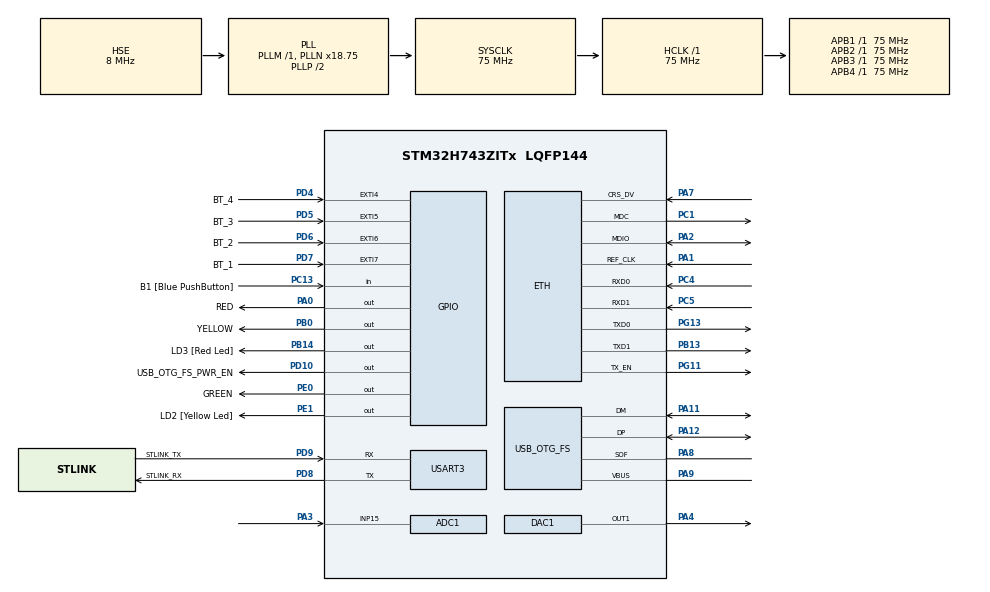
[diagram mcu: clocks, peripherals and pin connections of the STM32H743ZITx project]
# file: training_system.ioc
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ADC1.Channel-0\#ChannelRegularConversion=ADC_CHANNEL_15
ADC1.ConversionDataManagement=ADC_CONVERSIONDATA_DMA_ONESHOT
ADC1.ExternalTrigConv=ADC_EXTERNALTRIG_T1_TRGO
ADC1.NbrOfConversionFlag=1
ADC1.OffsetNumber-0\#ChannelRegularConversion=ADC_OFFSET_NONE
ADC1.OffsetSignedSaturation-0\#ChannelRegularConversion=DISABLE
ADC1.Rank-0\#ChannelRegularConversion=1
ADC1.Resolution=ADC_RESOLUTION_12B
ADC1.SamplingTime-0\#ChannelRegularConversion=ADC_SAMPLETIME_1CYCLE_5
ADC1.master=1
DAC1.DAC_Channel-DAC_OUT1=DAC_CHANNEL_1
DAC1.DAC_Trigger-DAC_OUT1=DAC_TRIGGER_T1_TRGO
Dma.ADC1.0.Direction=DMA_PERIPH_TO_MEMORY
Dma.ADC1.0.EventEnable=DISABLE
Dma.ADC1.0.FIFOMode=DMA_FIFOMODE_DISABLE
Dma.ADC1.0.Instance=DMA1_Stream0
Dma.ADC1.0.MemDataAlignment=DMA_MDATAALIGN_HALFWORD
Dma.ADC1.0.MemInc=DMA_MINC_ENABLE
Dma.ADC1.0.Mode=DMA_NORMAL
Dma.ADC1.0.PeriphDataAlignment=DMA_PDATAALIGN_HALFWORD
Dma.ADC1.0.PeriphInc=DMA_PINC_DISABLE
Dma.ADC1.0.Polarity=HAL_DMAMUX_REQ_GEN_RISING
Dma.ADC1.0.Priority=DMA_PRIORITY_LOW
Dma.ADC1.0.RequestNumber=1
Dma.ADC1.0.SignalID=NONE
Dma.ADC1.0.SyncEnable=DISABLE
Dma.ADC1.0.SyncPolarity=HAL_DMAMUX_SYNC_NO_EVENT
Dma.ADC1.0.SyncRequestNumber=1
Dma.ADC1.0.SyncSignalID=NONE
Dma.DAC1_CH1.1.Direction=DMA_MEMORY_TO_PERIPH
Dma.DAC1_CH1.1.EventEnable=DISABLE
Dma.DAC1_CH1.1.FIFOMode=DMA_FIFOMODE_DISABLE
Dma.DAC1_CH1.1.Instance=DMA1_Stream1
Dma.DAC1_CH1.1.MemDataAlignment=DMA_MDATAALIGN_HALFWORD
Dma.DAC1_CH1.1.MemInc=DMA_MINC_ENABLE
Dma.DAC1_CH1.1.Mode=DMA_NORMAL
Dma.DAC1_CH1.1.PeriphDataAlignment=DMA_PDATAALIGN_HALFWORD
Dma.DAC1_CH1.1.PeriphInc=DMA_PINC_DISABLE
Dma.DAC1_CH1.1.Polarity=HAL_DMAMUX_REQ_GEN_RISING
Dma.DAC1_CH1.1.Priority=DMA_PRIORITY_LOW
Dma.DAC1_CH1.1.RequestNumber=1
Dma.DAC1_CH1.1.SignalID=NONE
Dma.DAC1_CH1.1.SyncEnable=DISABLE
Dma.DAC1_CH1.1.SyncPolarity=HAL_DMAMUX_SYNC_NO_EVENT
Dma.DAC1_CH1.1.SyncRequestNumber=1
Dma.DAC1_CH1.1.SyncSignalID=NONE
Dma.Request0=ADC1
Dma.Request1=DAC1_CH1
ETH.MediaInterface=HAL_ETH_RMII_MODE
Mcu.Family=STM32H7
Mcu.Name=STM32H743ZITx
Mcu.Package=LQFP144
NVIC.DMA1_Stream0_IRQn=true\:0\:0\:false\:false\:true\:false\:true
NVIC.DMA1_Stream1_IRQn=true\:0\:0\:false\:false\:true\:false\:true
NVIC.EXTI4_IRQn=true\:0\:0\:false\:false\:true\:true\:true
NVIC.EXTI9_5_IRQn=true\:0\:0\:false\:false\:true\:true\:true
NVIC.PriorityGroup=NVIC_PRIORITYGROUP_4
PA0.GPIO_Label=RED
PA0.Signal=GPIO_Output
PA1.Mode=RMII
PA1.Signal=ETH_REF_CLK
PA11.Mode=Device_Only
PA11.Signal=USB_OTG_FS_DM
PA12.Mode=Device_Only
PA12.Signal=USB_OTG_FS_DP
PA2.Mode=RMII
PA2.Signal=ETH_MDIO
PA3.Signal=ADCx_INP15
PA4.Signal=COMP_DAC11_group
PA7.Mode=RMII
PA7.Signal=ETH_CRS_DV
PA8.Mode=Activate_SOF_FS
PA8.Signal=USB_OTG_FS_SOF
PA9.Mode=Activate_VBUS
PA9.Signal=USB_OTG_FS_VBUS
PB0.GPIO_Label=YELLOW
PB0.Signal=GPIO_Output
PB13.Mode=RMII
PB13.Signal=ETH_TXD1
PB14.GPIO_Label=LD3 [Red Led]
PB14.Signal=GPIO_Output
PC1.Mode=RMII
PC1.Signal=ETH_MDC
PC13.GPIO_Label=B1 [Blue PushButton]
PC13.Signal=GPIO_Input
PC14-OSC32_IN\ (OSC32_IN).Mode=LSE-External-Oscillator
PC14-OSC32_IN\ (OSC32_IN).Signal=RCC_OSC32_IN
PC15-OSC32_OUT\ (OSC32_OUT).Mode=LSE-External-Oscillator
PC15-OSC32_OUT\ (OSC32_OUT).Signal=RCC_OSC32_OUT
PC4.Mode=RMII
PC4.Signal=ETH_RXD0
PC5.Mode=RMII
PC5.Signal=ETH_RXD1
PD10.GPIO_Label=USB_OTG_FS_PWR_EN
PD10.Signal=GPIO_Output
PD4.GPIO_Label=BT_4
PD4.GPIO_ModeDefaultEXTI=GPIO_MODE_IT_FALLING
PD4.Signal=GPXTI4
PD5.GPIO_Label=BT_3
PD5.GPIO_ModeDefaultEXTI=GPIO_MODE_IT_FALLING
PD5.Signal=GPXTI5
PD6.GPIO_Label=BT_2
PD6.GPIO_ModeDefaultEXTI=GPIO_MODE_IT_FALLING
PD6.Signal=GPXTI6
PD7.GPIO_Label=BT_1
PD7.GPIO_ModeDefaultEXTI=GPIO_MODE_IT_FALLING
PD7.Signal=GPXTI7
PD8.GPIO_Label=STLINK_RX
PD8.Mode=Asynchronous
PD8.Signal=USART3_TX
PD9.GPIO_Label=STLINK_TX
PD9.Mode=Asynchronous
PD9.Signal=USART3_RX
PE0.GPIO_Label=GREEN
PE0.Signal=GPIO_Output
PE1.GPIO_Label=LD2 [Yellow Led]
PE1.Signal=GPIO_Output
PG11.Mode=RMII
PG11.Signal=ETH_TX_EN
PG13.Mode=RMII
PG13.Signal=ETH_TXD0
PH0-OSC_IN\ (PH0).Mode=HSE-External-Clock-Source
PH0-OSC_IN\ (PH0).Signal=RCC_OSC_IN
PH1-OSC_OUT\ (PH1).Signal=RCC_OSC_OUT
ProjectManager.HeapSize=0x200
ProjectManager.StackSize=0x400
ProjectManager.TargetToolchain=STM32CubeIDE
RCC.ADCFreq_Value=37500000
RCC.APB1Freq_Value=75000000
RCC.APB2Freq_Value=75000000
RCC.APB3Freq_Value=75000000
RCC.APB4Freq_Value=75000000
RCC.CortexFreq_Value=75000000
RCC.DIVM1=1
RCC.DIVM2=1
RCC.DIVN1=18
RCC.DIVN2=18
RCC.DIVP2=4
RCC.DIVQ1=3
RCC.HCLKFreq_Value=75000000
RCC.HSE_VALUE=8000000
RCC.PLL2FRACN=6144
RCC.PLLFRACN=6144
RCC.PWR_Regulator_Voltage_Scale=PWR_REGULATOR_VOLTAGE_SCALE2
RCC.SYSCLKFreq_VALUE=75000000
RCC.SYSCLKSource=RCC_SYSCLKSOURCE_PLLCLK
RCC.USART234578CLockSelection=RCC_USART234578CLKSOURCE_HSI
RCC.USBFreq_Value=50000000
SH.ADCx_INP15.0=ADC1_INP15,IN15-Single-Ended
SH.COMP_DAC11_group.0=DAC1_OUT1,DAC_OUT1
TIM1.Period=7500-1
TIM1.TIM_MasterOutputTrigger=TIM_TRGO_UPDATE
USART3.VirtualMode-Asynchronous=VM_ASYNC
USB_OTG_FS.VirtualMode=Device_Only
VP_TIM1_VS_ClockSourceINT.Mode=Internal
board=NUCLEO-H743ZI2

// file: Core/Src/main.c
/* USER CODE BEGIN Header */
/**
  ******************************************************************************
  * @file           : main.c
  * @brief          : Main program body
  ******************************************************************************
  * @attention
  *
  * <h2><center>&copy; Copyright (c) 2021 STMicroelectronics.
  * All rights reserved.</center></h2>
  *
  * This software component is licensed by ST under BSD 3-Clause license,
  * the "License"; You may not use this file except in compliance with the
  * License. You may obtain a copy of the License at:
  *                        opensource.org/licenses/BSD-3-Clause
  *
  ******************************************************************************
  */
/* USER CODE END Header */
#include "main.h"
#include "string.h"

#if defined ( __ICCARM__ ) /*!< IAR Compiler */

#pragma location=0x30040000
ETH_DMADescTypeDef  DMARxDscrTab[ETH_RX_DESC_CNT]; /* Ethernet Rx DMA Descriptors */
#pragma location=0x30040060
ETH_DMADescTypeDef  DMATxDscrTab[ETH_TX_DESC_CNT]; /* Ethernet Tx DMA Descriptors */
#pragma location=0x30040200
uint8_t Rx_Buff[ETH_RX_DESC_CNT][ETH_MAX_PACKET_SIZE]; /* Ethernet Receive Buffers */

#elif defined ( __CC_ARM )  /* MDK ARM Compiler */

__attribute__((at(0x30040000))) ETH_DMADescTypeDef  DMARxDscrTab[ETH_RX_DESC_CNT]; /* Ethernet Rx DMA Descriptors */
__attribute__((at(0x30040060))) ETH_DMADescTypeDef  DMATxDscrTab[ETH_TX_DESC_CNT]; /* Ethernet Tx DMA Descriptors */
__attribute__((at(0x30040200))) uint8_t Rx_Buff[ETH_RX_DESC_CNT][ETH_MAX_PACKET_SIZE]; /* Ethernet Receive Buffer */

#elif defined ( __GNUC__ ) /* GNU Compiler */

ETH_DMADescTypeDef DMARxDscrTab[ETH_RX_DESC_CNT] __attribute__((section(".RxDecripSection"))); /* Ethernet Rx DMA Descriptors */
ETH_DMADescTypeDef DMATxDscrTab[ETH_TX_DESC_CNT] __attribute__((section(".TxDecripSection")));   /* Ethernet Tx DMA Descriptors */
uint8_t Rx_Buff[ETH_RX_DESC_CNT][ETH_MAX_PACKET_SIZE] __attribute__((section(".RxArraySection"))); /* Ethernet Receive Buffers */

#endif

ETH_TxPacketConfig TxConfig;
ADC_HandleTypeDef hadc1;
DMA_HandleTypeDef hdma_adc1;

DAC_HandleTypeDef hdac1;
DMA_HandleTypeDef hdma_dac1_ch1;

ETH_HandleTypeDef heth;

TIM_HandleTypeDef htim1;

UART_HandleTypeDef huart3;

PCD_HandleTypeDef hpcd_USB_OTG_FS;

void SystemClock_Config(void);
static void MX_GPIO_Init(void);
static void MX_ETH_Init(void);
static void MX_USART3_UART_Init(void);
static void MX_DMA_Init(void);
static void MX_ADC1_Init(void);
static void MX_DAC1_Init(void);
static void MX_USB_OTG_FS_PCD_Init(void);
static void MX_TIM1_Init(void);

/* USER CODE BEGIN 0 */
#include <math.h>
#include <arm_math.h>
//#include <fft.h>
#include "const.h"
#include <stdio.h>
#include <chroma.h>
#include "plot.h"
int16_t ADC_buff[ADC_BUF_SIZE];
//float32_t ADC_buff_complex[ADC_BUF_SIZE * 2];
//float32_t ADC_buff_mag[ADC_BUF_SIZE];
uint8_t record_done = 0;
//uint8_t play_done = 0;
uint8_t buttonState = 0;
int counter = 0;
float mag_print;

void preprocess(int16_t in_array[], float out_array[]) {
	float average = 0;
	for(int i = 0; i < ADC_BUF_SIZE; i++) {
		float val = (float) in_array[i];
		out_array[i] = val;
		average += val;
	}
	average /= ADC_BUF_SIZE;
	for(int i = 0; i < ADC_BUF_SIZE; i++) {
		out_array[i] -= average;
	}
}

/* USER CODE END 0 */

int main(void)
{

  /* MCU Configuration--------------------------------------------------------*/

  /* Reset of all peripherals, Initializes the Flash interface and the Systick. */
  HAL_Init();

  /* Configure the system clock */
  SystemClock_Config();

  /* Initialize all configured peripherals */
  MX_GPIO_Init();
  MX_ETH_Init();
  MX_USART3_UART_Init();
  MX_DMA_Init();
  MX_ADC1_Init();
  MX_DAC1_Init();
  MX_USB_OTG_FS_PCD_Init();
  MX_TIM1_Init();
  /* USER CODE BEGIN 2 */
  if (HAL_ADCEx_Calibration_Start(&hadc1, ADC_CALIB_OFFSET, ADC_SINGLE_ENDED) != HAL_OK) {
	  Error_Handler();
  }
  HAL_TIM_Base_Start(&htim1);
  /* USER CODE END 2 */

  /* Infinite loop */
  while (1)
  {

    /* USER CODE BEGIN 3 */
	  //if (buttonState == 1) {
	  HAL_GPIO_WritePin(RED_GPIO_Port, RED_Pin, GPIO_PIN_SET);
	  HAL_Delay(1000);
	  HAL_GPIO_WritePin(RED_GPIO_Port, RED_Pin, GPIO_PIN_RESET);
	  HAL_GPIO_WritePin(GPIOB, YELLOW_Pin, GPIO_PIN_SET);
	  HAL_Delay(1000);
	  HAL_GPIO_WritePin(GPIOB, YELLOW_Pin, GPIO_PIN_RESET);
	  HAL_GPIO_WritePin(GPIOE, GREEN_Pin, GPIO_PIN_SET);
	  if (HAL_ADC_Start_DMA(&hadc1, (uint32_t *) &ADC_buff, ADC_BUF_SIZE) != HAL_OK) {
		  Error_Handler();
	  }
	  while(1) {
		  if(record_done == 1) {
			  record_done = 0;
			  HAL_GPIO_WritePin(GPIOE, GREEN_Pin, GPIO_PIN_RESET);
			  break;
		  }
	  }
	  buttonState = 0;
	  float processed_array[ADC_BUF_SIZE] = {0};
	  preprocess(ADC_buff, processed_array);

	  /*
	  //HAL_Delay(500);
	  preprocess(ADC_buff, ADC_buff_complex, ADC_BUF_SIZE);
	  plot(ADC_buff_complex, ADC_BUF_SIZE, 1);
	  HAL_Delay(100);
	  // Part 2

	  // 1024 FFT Three kHz
	  arm_cfft_instance_f32 fft_handler;
	  arm_cfft_init_f32(&fft_handler, ADC_BUF_SIZE);
	  arm_cfft_f32(&fft_handler, ADC_buff_complex, 0, 1);

	  get_magnitude(ADC_buff_complex, ADC_buff_mag, ADC_BUF_SIZE);
	  plot(ADC_buff_mag, ADC_BUF_SIZE, 0);

	  float32_t delta_f = ((float) 10000)/2048;
	  printf("2048 Point Delta f: %.1f\n", delta_f);

	  int ADC_buff_peaks[2];
	  get_two_peaks(ADC_buff_mag, ADC_BUF_SIZE, ADC_buff_peaks);

	  printf("2048-pt FFT Peak Frequencies: %.1f, %.1f\n", (ADC_buff_peaks[0] + 1) * delta_f, (ADC_buff_peaks[1] + 1) * delta_f);
	  HAL_Delay(100);
	  */

	  float octaves[OCTAVE_SIZE] = {0};
	  float chroma[CHROMA_SIZE] = {0};
	  float curr_fft[FFT_SIZE];
	  for(int i = 0; i < (ADC_BUF_SIZE - FFT_SIZE); i += HOP_LENGTH) {
		  for (int j = 0; j < FFT_SIZE; j++) {
			  curr_fft[j] = processed_array[i + j];
		  }
		  get_chroma(curr_fft, chroma, octaves);
	  }

	  float normalized_octaves[OCTAVE_SIZE] = {0};
	  float normalized_chroma[CHROMA_SIZE] = {0};
	  normalize_chroma(chroma, octaves, normalized_chroma, normalized_octaves);

	  float ml_vector[CHROMA_SIZE + OCTAVE_SIZE];
	  for (int i = 0; i < CHROMA_SIZE; i++) {
		  ml_vector[i] = normalized_chroma[i];
	  }
	  for (int i = 0; i < OCTAVE_SIZE; i++) {
		  ml_vector[i + CHROMA_SIZE] = normalized_octaves[i];
	  }
	  printf("{");
	  for (int i = 0; i < CHROMA_SIZE + OCTAVE_SIZE; i++) {
		  if (i == CHROMA_SIZE + OCTAVE_SIZE - 1) {
			  printf("%.3f}\n", ml_vector[i]);
		  }
		  else {
			  printf("%.3f, ", ml_vector[i]);
		  }
	  }
	  if (counter == NUM_TRAIN_SAMPLES - 1) {
		  HAL_Delay(5);
		  counter = 0;
	  }
	  else {
		  counter++;
	  }
	  //}
  }
  /* USER CODE END 3 */
}

void SystemClock_Config(void)
{
  RCC_OscInitTypeDef RCC_OscInitStruct = {0};
  RCC_ClkInitTypeDef RCC_ClkInitStruct = {0};

  /** Supply configuration update enable
  */
  HAL_PWREx_ConfigSupply(PWR_LDO_SUPPLY);
  /** Configure the main internal regulator output voltage
  */
  __HAL_PWR_VOLTAGESCALING_CONFIG(PWR_REGULATOR_VOLTAGE_SCALE2);

  while(!__HAL_PWR_GET_FLAG(PWR_FLAG_VOSRDY)) {}
  /** Macro to configure the PLL clock source
  */
  __HAL_RCC_PLL_PLLSOURCE_CONFIG(RCC_PLLSOURCE_HSE);
  /** Initializes the RCC Oscillators according to the specified parameters
  * in the RCC_OscInitTypeDef structure.
  */
  RCC_OscInitStruct.OscillatorType = RCC_OSCILLATORTYPE_HSI|RCC_OSCILLATORTYPE_HSE;
  RCC_OscInitStruct.HSEState = RCC_HSE_BYPASS;
  RCC_OscInitStruct.HSIState = RCC_HSI_DIV1;
  RCC_OscInitStruct.HSICalibrationValue = RCC_HSICALIBRATION_DEFAULT;
  RCC_OscInitStruct.PLL.PLLState = RCC_PLL_ON;
  RCC_OscInitStruct.PLL.PLLSource = RCC_PLLSOURCE_HSE;
  RCC_OscInitStruct.PLL.PLLM = 1;
  RCC_OscInitStruct.PLL.PLLN = 18;
  RCC_OscInitStruct.PLL.PLLP = 2;
  RCC_OscInitStruct.PLL.PLLQ = 3;
  RCC_OscInitStruct.PLL.PLLR = 2;
  RCC_OscInitStruct.PLL.PLLRGE = RCC_PLL1VCIRANGE_3;
  RCC_OscInitStruct.PLL.PLLVCOSEL = RCC_PLL1VCOMEDIUM;
  RCC_OscInitStruct.PLL.PLLFRACN = 6144;
  if (HAL_RCC_OscConfig(&RCC_OscInitStruct) != HAL_OK)
  {
    Error_Handler();
  }
  /** Initializes the CPU, AHB and APB buses clocks
  */
  RCC_ClkInitStruct.ClockType = RCC_CLOCKTYPE_HCLK|RCC_CLOCKTYPE_SYSCLK
                              |RCC_CLOCKTYPE_PCLK1|RCC_CLOCKTYPE_PCLK2
                              |RCC_CLOCKTYPE_D3PCLK1|RCC_CLOCKTYPE_D1PCLK1;
  RCC_ClkInitStruct.SYSCLKSource = RCC_SYSCLKSOURCE_PLLCLK;
  RCC_ClkInitStruct.SYSCLKDivider = RCC_SYSCLK_DIV1;
  RCC_ClkInitStruct.AHBCLKDivider = RCC_HCLK_DIV1;
  RCC_ClkInitStruct.APB3CLKDivider = RCC_APB3_DIV1;
  RCC_ClkInitStruct.APB1CLKDivider = RCC_APB1_DIV1;
  RCC_ClkInitStruct.APB2CLKDivider = RCC_APB2_DIV1;
  RCC_ClkInitStruct.APB4CLKDivider = RCC_APB4_DIV1;

  if (HAL_RCC_ClockConfig(&RCC_ClkInitStruct, FLASH_LATENCY_1) != HAL_OK)
  {
    Error_Handler();
  }
}

static void MX_ADC1_Init(void)
{

  ADC_MultiModeTypeDef multimode = {0};
  ADC_ChannelConfTypeDef sConfig = {0};

  /** Common config
  */
  hadc1.Instance = ADC1;
  hadc1.Init.ClockPrescaler = ADC_CLOCK_ASYNC_DIV2;
  hadc1.Init.Resolution = ADC_RESOLUTION_12B;
  hadc1.Init.ScanConvMode = ADC_SCAN_DISABLE;
  hadc1.Init.EOCSelection = ADC_EOC_SINGLE_CONV;
  hadc1.Init.LowPowerAutoWait = DISABLE;
  hadc1.Init.ContinuousConvMode = DISABLE;
  hadc1.Init.NbrOfConversion = 1;
  hadc1.Init.DiscontinuousConvMode = DISABLE;
  hadc1.Init.ExternalTrigConv = ADC_EXTERNALTRIG_T1_TRGO;
  hadc1.Init.ExternalTrigConvEdge = ADC_EXTERNALTRIGCONVEDGE_RISING;
  hadc1.Init.ConversionDataManagement = ADC_CONVERSIONDATA_DMA_ONESHOT;
  hadc1.Init.Overrun = ADC_OVR_DATA_PRESERVED;
  hadc1.Init.LeftBitShift = ADC_LEFTBITSHIFT_NONE;
  hadc1.Init.OversamplingMode = DISABLE;
  if (HAL_ADC_Init(&hadc1) != HAL_OK)
  {
    Error_Handler();
  }
  /** Configure the ADC multi-mode
  */
  multimode.Mode = ADC_MODE_INDEPENDENT;
  if (HAL_ADCEx_MultiModeConfigChannel(&hadc1, &multimode) != HAL_OK)
  {
    Error_Handler();
  }
  /** Configure Regular Channel
  */
  sConfig.Channel = ADC_CHANNEL_15;
  sConfig.Rank = ADC_REGULAR_RANK_1;
  sConfig.SamplingTime = ADC_SAMPLETIME_1CYCLE_5;
  sConfig.SingleDiff = ADC_SINGLE_ENDED;
  sConfig.OffsetNumber = ADC_OFFSET_NONE;
  sConfig.Offset = 0;
  sConfig.OffsetSignedSaturation = DISABLE;
  if (HAL_ADC_ConfigChannel(&hadc1, &sConfig) != HAL_OK)
  {
    Error_Handler();
  }

}

static void MX_DAC1_Init(void)
{

  DAC_ChannelConfTypeDef sConfig = {0};

  /** DAC Initialization
  */
  hdac1.Instance = DAC1;
  if (HAL_DAC_Init(&hdac1) != HAL_OK)
  {
    Error_Handler();
  }
  /** DAC channel OUT1 config
  */
  sConfig.DAC_SampleAndHold = DAC_SAMPLEANDHOLD_DISABLE;
  sConfig.DAC_Trigger = DAC_TRIGGER_T1_TRGO;
  sConfig.DAC_OutputBuffer = DAC_OUTPUTBUFFER_ENABLE;
  sConfig.DAC_ConnectOnChipPeripheral = DAC_CHIPCONNECT_DISABLE;
  sConfig.DAC_UserTrimming = DAC_TRIMMING_FACTORY;
  if (HAL_DAC_ConfigChannel(&hdac1, &sConfig, DAC_CHANNEL_1) != HAL_OK)
  {
    Error_Handler();
  }

}

static void MX_ETH_Init(void)
{

   static uint8_t MACAddr[6];

  heth.Instance = ETH;
  MACAddr[0] = 0x00;
  MACAddr[1] = 0x80;
  MACAddr[2] = 0xE1;
  MACAddr[3] = 0x00;
  MACAddr[4] = 0x00;
  MACAddr[5] = 0x00;
  heth.Init.MACAddr = &MACAddr[0];
  heth.Init.MediaInterface = HAL_ETH_RMII_MODE;
  heth.Init.TxDesc = DMATxDscrTab;
  heth.Init.RxDesc = DMARxDscrTab;
  heth.Init.RxBuffLen = 1524;

  if (HAL_ETH_Init(&heth) != HAL_OK)
  {
    Error_Handler();
  }

  memset(&TxConfig, 0 , sizeof(ETH_TxPacketConfig));
  TxConfig.Attributes = ETH_TX_PACKETS_FEATURES_CSUM | ETH_TX_PACKETS_FEATURES_CRCPAD;
  TxConfig.ChecksumCtrl = ETH_CHECKSUM_IPHDR_PAYLOAD_INSERT_PHDR_CALC;
  TxConfig.CRCPadCtrl = ETH_CRC_PAD_INSERT;

}

static void MX_TIM1_Init(void)
{

  TIM_ClockConfigTypeDef sClockSourceConfig = {0};
  TIM_MasterConfigTypeDef sMasterConfig = {0};

  htim1.Instance = TIM1;
  htim1.Init.Prescaler = 0;
  htim1.Init.CounterMode = TIM_COUNTERMODE_UP;
  htim1.Init.Period = 7500-1;
  htim1.Init.ClockDivision = TIM_CLOCKDIVISION_DIV1;
  htim1.Init.RepetitionCounter = 0;
  htim1.Init.AutoReloadPreload = TIM_AUTORELOAD_PRELOAD_DISABLE;
  if (HAL_TIM_Base_Init(&htim1) != HAL_OK)
  {
    Error_Handler();
  }
  sClockSourceConfig.ClockSource = TIM_CLOCKSOURCE_INTERNAL;
  if (HAL_TIM_ConfigClockSource(&htim1, &sClockSourceConfig) != HAL_OK)
  {
    Error_Handler();
  }
  sMasterConfig.MasterOutputTrigger = TIM_TRGO_UPDATE;
  sMasterConfig.MasterOutputTrigger2 = TIM_TRGO2_RESET;
  sMasterConfig.MasterSlaveMode = TIM_MASTERSLAVEMODE_DISABLE;
  if (HAL_TIMEx_MasterConfigSynchronization(&htim1, &sMasterConfig) != HAL_OK)
  {
    Error_Handler();
  }

}

static void MX_USART3_UART_Init(void)
{

  huart3.Instance = USART3;
  huart3.Init.BaudRate = 115200;
  huart3.Init.WordLength = UART_WORDLENGTH_8B;
  huart3.Init.StopBits = UART_STOPBITS_1;
  huart3.Init.Parity = UART_PARITY_NONE;
  huart3.Init.Mode = UART_MODE_TX_RX;
  huart3.Init.HwFlowCtl = UART_HWCONTROL_NONE;
  huart3.Init.OverSampling = UART_OVERSAMPLING_16;
  huart3.Init.OneBitSampling = UART_ONE_BIT_SAMPLE_DISABLE;
  huart3.Init.ClockPrescaler = UART_PRESCALER_DIV1;
  huart3.AdvancedInit.AdvFeatureInit = UART_ADVFEATURE_NO_INIT;
  if (HAL_UART_Init(&huart3) != HAL_OK)
  {
    Error_Handler();
  }
  if (HAL_UARTEx_SetTxFifoThreshold(&huart3, UART_TXFIFO_THRESHOLD_1_8) != HAL_OK)
  {
    Error_Handler();
  }
  if (HAL_UARTEx_SetRxFifoThreshold(&huart3, UART_RXFIFO_THRESHOLD_1_8) != HAL_OK)
  {
    Error_Handler();
  }
  if (HAL_UARTEx_DisableFifoMode(&huart3) != HAL_OK)
  {
    Error_Handler();
  }

}

static void MX_USB_OTG_FS_PCD_Init(void)
{

  hpcd_USB_OTG_FS.Instance = USB_OTG_FS;
  hpcd_USB_OTG_FS.Init.dev_endpoints = 9;
  hpcd_USB_OTG_FS.Init.speed = PCD_SPEED_FULL;
  hpcd_USB_OTG_FS.Init.dma_enable = DISABLE;
  hpcd_USB_OTG_FS.Init.phy_itface = PCD_PHY_EMBEDDED;
  hpcd_USB_OTG_FS.Init.Sof_enable = ENABLE;
  hpcd_USB_OTG_FS.Init.low_power_enable = DISABLE;
  hpcd_USB_OTG_FS.Init.lpm_enable = DISABLE;
  hpcd_USB_OTG_FS.Init.battery_charging_enable = ENABLE;
  hpcd_USB_OTG_FS.Init.vbus_sensing_enable = ENABLE;
  hpcd_USB_OTG_FS.Init.use_dedicated_ep1 = DISABLE;
  if (HAL_PCD_Init(&hpcd_USB_OTG_FS) != HAL_OK)
  {
    Error_Handler();
  }

}

static void MX_DMA_Init(void)
{

  /* DMA controller clock enable */
  __HAL_RCC_DMA1_CLK_ENABLE();

  /* DMA interrupt init */
  /* DMA1_Stream0_IRQn interrupt configuration */
  HAL_NVIC_SetPriority(DMA1_Stream0_IRQn, 0, 0);
  HAL_NVIC_EnableIRQ(DMA1_Stream0_IRQn);
  /* DMA1_Stream1_IRQn interrupt configuration */
  HAL_NVIC_SetPriority(DMA1_Stream1_IRQn, 0, 0);
  HAL_NVIC_EnableIRQ(DMA1_Stream1_IRQn);

}

static void MX_GPIO_Init(void)
{
  GPIO_InitTypeDef GPIO_InitStruct = {0};

  /* GPIO Ports Clock Enable */
  __HAL_RCC_GPIOC_CLK_ENABLE();
  __HAL_RCC_GPIOH_CLK_ENABLE();
  __HAL_RCC_GPIOA_CLK_ENABLE();
  __HAL_RCC_GPIOB_CLK_ENABLE();
  __HAL_RCC_GPIOD_CLK_ENABLE();
  __HAL_RCC_GPIOG_CLK_ENABLE();
  __HAL_RCC_GPIOE_CLK_ENABLE();

  /*Configure GPIO pin Output Level */
  HAL_GPIO_WritePin(RED_GPIO_Port, RED_Pin, GPIO_PIN_RESET);

  /*Configure GPIO pin Output Level */
  HAL_GPIO_WritePin(GPIOB, YELLOW_Pin|LD3_Pin, GPIO_PIN_RESET);

  /*Configure GPIO pin Output Level */
  HAL_GPIO_WritePin(USB_OTG_FS_PWR_EN_GPIO_Port, USB_OTG_FS_PWR_EN_Pin, GPIO_PIN_RESET);

  /*Configure GPIO pin Output Level */
  HAL_GPIO_WritePin(GPIOE, GREEN_Pin|LD2_Pin, GPIO_PIN_RESET);

  /*Configure GPIO pin : B1_Pin */
  GPIO_InitStruct.Pin = B1_Pin;
  GPIO_InitStruct.Mode = GPIO_MODE_INPUT;
  GPIO_InitStruct.Pull = GPIO_NOPULL;
  HAL_GPIO_Init(B1_GPIO_Port, &GPIO_InitStruct);

  /*Configure GPIO pin : RED_Pin */
  GPIO_InitStruct.Pin = RED_Pin;
  GPIO_InitStruct.Mode = GPIO_MODE_OUTPUT_PP;
  GPIO_InitStruct.Pull = GPIO_NOPULL;
  GPIO_InitStruct.Speed = GPIO_SPEED_FREQ_LOW;
  HAL_GPIO_Init(RED_GPIO_Port, &GPIO_InitStruct);

  /*Configure GPIO pins : YELLOW_Pin LD3_Pin */
  GPIO_InitStruct.Pin = YELLOW_Pin|LD3_Pin;
  GPIO_InitStruct.Mode = GPIO_MODE_OUTPUT_PP;
  GPIO_InitStruct.Pull = GPIO_NOPULL;
  GPIO_InitStruct.Speed = GPIO_SPEED_FREQ_LOW;
  HAL_GPIO_Init(GPIOB, &GPIO_InitStruct);

  /*Configure GPIO pin : USB_OTG_FS_PWR_EN_Pin */
  GPIO_InitStruct.Pin = USB_OTG_FS_PWR_EN_Pin;
  GPIO_InitStruct.Mode = GPIO_MODE_OUTPUT_PP;
  GPIO_InitStruct.Pull = GPIO_NOPULL;
  GPIO_InitStruct.Speed = GPIO_SPEED_FREQ_LOW;
  HAL_GPIO_Init(USB_OTG_FS_PWR_EN_GPIO_Port, &GPIO_InitStruct);

  /*Configure GPIO pins : BT_4_Pin BT_3_Pin BT_2_Pin BT_1_Pin */
  GPIO_InitStruct.Pin = BT_4_Pin|BT_3_Pin|BT_2_Pin|BT_1_Pin;
  GPIO_InitStruct.Mode = GPIO_MODE_IT_FALLING;
  GPIO_InitStruct.Pull = GPIO_NOPULL;
  HAL_GPIO_Init(GPIOD, &GPIO_InitStruct);

  /*Configure GPIO pins : GREEN_Pin LD2_Pin */
  GPIO_InitStruct.Pin = GREEN_Pin|LD2_Pin;
  GPIO_InitStruct.Mode = GPIO_MODE_OUTPUT_PP;
  GPIO_InitStruct.Pull = GPIO_NOPULL;
  GPIO_InitStruct.Speed = GPIO_SPEED_FREQ_LOW;
  HAL_GPIO_Init(GPIOE, &GPIO_InitStruct);

  /* EXTI interrupt init*/
  HAL_NVIC_SetPriority(EXTI4_IRQn, 0, 0);
  HAL_NVIC_EnableIRQ(EXTI4_IRQn);

  HAL_NVIC_SetPriority(EXTI9_5_IRQn, 0, 0);
  HAL_NVIC_EnableIRQ(EXTI9_5_IRQn);

}

/* USER CODE BEGIN 4 */
void HAL_ADC_ConvCpltCallback(ADC_HandleTypeDef *hadc) {
	if (HAL_ADC_Stop_DMA(&hadc1) != HAL_OK) {
		Error_Handler();
	}
	record_done = 1;
}

/*
void HAL_DAC_ConvCpltCallbackCh1(DAC_HandleTypeDef *hdac) {
	play_done = 1;
}
*/

int _write(int file, char *ptr, int len) {
	int i = 0;
	for (i = 0; i < len; i++) {
		ITM_SendChar((*ptr++));
	}
	return len;
}

void HAL_GPIO_EXTI_Callback(uint16_t GPIO_Pin) {
	if (GPIO_Pin == BT_1_Pin) {
		buttonState = 1;
	}
	else if (GPIO_Pin == BT_2_Pin) {
		buttonState = 2;
	}
	else if (GPIO_Pin == BT_3_Pin) {
		buttonState = 3;
	}
	else if (GPIO_Pin == BT_4_Pin) {
		buttonState = 4;
	}
}
/* USER CODE END 4 */

void Error_Handler(void)
{
  /* USER CODE BEGIN Error_Handler_Debug */
  /* User can add his own implementation to report the HAL error return state */
  HAL_GPIO_WritePin(GPIOB, LD3_Pin, GPIO_PIN_SET);
  /* USER CODE END Error_Handler_Debug */
}

/************************ (C) COPYRIGHT STMicroelectronics *****END OF FILE****/
